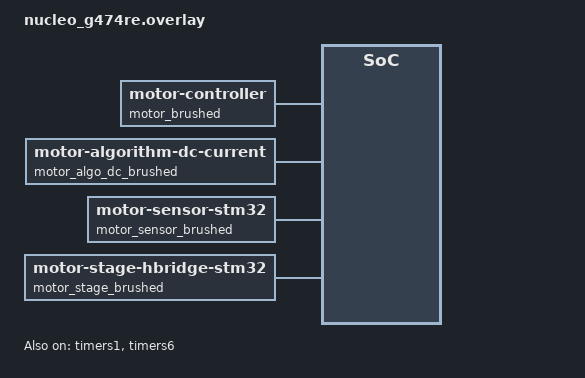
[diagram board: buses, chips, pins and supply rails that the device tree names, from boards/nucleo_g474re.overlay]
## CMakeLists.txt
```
# Copyright (c) 2026 Freedom Veiculos Eletricos
# SPDX-License-Identifier: UNLICENSED

cmake_minimum_required(VERSION 3.20.0)
find_package(Zephyr REQUIRED HINTS $ENV{ZEPHYR_BASE})
project(motor_trapezoid)

target_sources(app PRIVATE src/main.c)
```

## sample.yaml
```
# Copyright (c) 2026 Zephyr Motor Control Contributors
# SPDX-License-Identifier: Apache-2.0
#
# From repo root with ZEPHYR_EXTRA_MODULES: west twister -T samples/motor_trapezoid

sample:
  description: Motor control trapezoidal current trajectory (STM32 LL, NUCLEO-G474RE)
  name: motor_trapezoid
common:
  tags: motor
tests:
  samples.motor.motor_trapezoid:
    build_only: true
    extra_args: CONF_FILE=prj.conf
    integration_platforms:
      - nucleo_g474re
      - nucleo_h753zi
```

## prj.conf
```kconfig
# Copyright (c) 2026 Freedom Veiculos Eletricos
# SPDX-License-Identifier: UNLICENSED
#
# Trapezoidal current trajectory sample. Build (NUCLEO-G474RE + STM32 LL path):
#   west build -b nucleo_g474re samples/motor_trapezoid -- \
#     -DZEPHYR_EXTRA_MODULES=path/to/zephyr-motion-control
#
# boards/nucleo_g474re.overlay is auto-applied for that board.

CONFIG_PRINTK=y
CONFIG_LOG=y
CONFIG_GPIO=y
CONFIG_COUNTER=y
CONFIG_PINCTRL=y
CONFIG_UART_CONSOLE=y
CONFIG_CONSOLE=y

CONFIG_SHELL=y
CONFIG_SHELL_STACK_SIZE=4096

CONFIG_MOTOR_STAGE_HBRIDGE_STM32=y
CONFIG_MOTOR_SENSOR_STM32=y

CONFIG_MOTOR_CONTROL_LIB=y
CONFIG_MOTOR_SUBSYS=y
```

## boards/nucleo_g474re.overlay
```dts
/*
 * Copyright (c) 2026 Zephyr Motor Control Contributors
 * SPDX-License-Identifier: Apache-2.0
 *
 * NUCLEO-G474RE: full-bridge DC on TIM1 complementary (CH1/CH1N + CH2/CH2N).
 * TIM1 TRGO -> ADC1 injected.
 */

/ {
	motor_brushed: motor-controller {
		compatible = "zephyr,motor-controller";
		status = "okay";

		sensor = <&motor_sensor_brushed>;
		actuator = <&motor_stage_brushed>;
		algorithm = <&motor_algo_dc_brushed>;
	};

	motor_algo_dc_brushed: motor-algorithm-dc-brushed {
		compatible = "zephyr,motor-algorithm-dc-current";
		status = "okay";

		dc-current-kp-milli = <500>;
		dc-current-ki-milli = <2000000>;
		dc-current-out-min-milli = <(-1000)>;
		dc-current-out-max-milli = <1000>;
		i-max-ma = <1000>;
	};

	motor_sensor_brushed: motor-sensor-brushed {
		compatible = "zephyr,motor-sensor-stm32";
		status = "okay";

		adc = <&adc1>;
		adc-channels = <1>;
		sync-actuator = <&motor_stage_brushed>;
		zephyr,adc-irq-priority = <2>;
	};

	motor_stage_brushed: motor-stage-brushed {
		compatible = "zephyr,motor-stage-hbridge-stm32";
		status = "okay";

		st,pwm-timer = <&timers1>;
		slow-timer = <&motor_slow_counter>;
		slow-sample-div = <10>;
		pwm-channels = <1 2>;
		pwm-frequency = <20000>;
		deadtime-ns = <500>;
		trgo-source = "update";

		pinctrl-0 = <&tim1_ch1_pa8 &tim1_ch1n_pa7
			     &tim1_ch2_pa9 &tim1_ch2n_pb0>;
		pinctrl-names = "complementary";
	};
};

&timers1 {
	status = "okay";
	st,prescaler = <0>;
};

&timers6 {
	status = "okay";
	/* TIM6 counts 16 bits: the 500 us outer tick only fits once the timer
	 * clock is divided down.
	 */
	st,prescaler = <3>;

	motor_slow_counter: counter {
		status = "okay";
	};
};
```

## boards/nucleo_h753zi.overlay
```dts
/*
 * Copyright (c) 2026 Zephyr Motor Control Contributors
 * SPDX-License-Identifier: Apache-2.0
 *
 * NUCLEO-H753ZI: full-bridge DC on TIM1 complementary (CH1/CH1N + CH2/CH2N).
 * TIM1 TRGO -> ADC3 injected.
 */

/ {
	motor_brushed: motor-controller {
		compatible = "zephyr,motor-controller";
		status = "okay";

		sensor = <&motor_sensor_brushed>;
		actuator = <&motor_stage_brushed>;
		algorithm = <&motor_algo_dc_brushed>;
	};

	motor_algo_dc_brushed: motor-algorithm-dc-brushed {
		compatible = "zephyr,motor-algorithm-dc-current";
		status = "okay";

		dc-current-kp-milli = <500>;
		dc-current-ki-milli = <2000000>;
		dc-current-out-min-milli = <(-1000)>;
		dc-current-out-max-milli = <1000>;
		i-max-ma = <1000>;
	};

	motor_sensor_brushed: motor-sensor-brushed {
		compatible = "zephyr,motor-sensor-stm32";
		status = "okay";

		adc = <&adc3>;
		adc-channels = <1>;
		sync-actuator = <&motor_stage_brushed>;
		zephyr,adc-irq-priority = <2>;
	};

	motor_stage_brushed: motor-stage-brushed {
		compatible = "zephyr,motor-stage-hbridge-stm32";
		status = "okay";

		st,pwm-timer = <&timers1>;
		slow-timer = <&motor_slow_counter>;
		slow-sample-div = <10>;
		pwm-channels = <1 2>;
		pwm-frequency = <20000>;
		deadtime-ns = <500>;
		trgo-source = "update";

		pinctrl-0 = <&tim1_ch1_pa8 &tim1_ch1n_pa7
			     &tim1_ch2_pa9 &tim1_ch2n_pb0>;
		pinctrl-names = "complementary";
	};
};

&adc3 {
	status = "okay";
	pinctrl-0 = <&adc3_inp1_pc3_c>;
	pinctrl-names = "default";
};

&timers1 {
	status = "okay";
	st,prescaler = <0>;
};

&timers6 {
	status = "okay";
	/* TIM6 counts 16 bits: the 500 us outer tick only fits once the timer
	 * clock is divided down.
	 */
	st,prescaler = <3>;

	motor_slow_counter: counter {
		status = "okay";
	};
};
```

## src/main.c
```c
/*
 * Copyright (c) 2026 Freedom Veiculos Eletricos
 * SPDX-License-Identifier: UNLICENSED
 *
 * Shell-controlled trapezoidal current trajectory for the dc-current algorithm.
 */

#include <errno.h>
#include <stdbool.h>
#include <stdint.h>
#include <string.h>

#include <zephyr/devicetree.h>
#include <zephyr/kernel.h>
#include <zephyr/logging/log.h>
#include <zephyr/shell/shell.h>
#include <zephyr/sys/atomic.h>

#include <zephyr/subsys/motor/algorithms/dc_current/motor_algo_dc_current.h>
#include <zephyr/subsys/motor/motor.h>
#include <zephyr/subsys/motor/motor_subsys.h>

LOG_MODULE_REGISTER(motor_trapezoid, LOG_LEVEL_INF);

BUILD_ASSERT(DT_NODE_EXISTS(DT_NODELABEL(motor_brushed)),
	     "Add motor_brushed zephyr,motor-controller in board overlay");

#define TRAJ_TICK_MS      10U
#define TRAJ_RAMP_STEPS   (5000U / TRAJ_TICK_MS)
#define TRAJ_HOLD_STEPS   (5000U / TRAJ_TICK_MS)
#define TRAJ_ZERO_STEPS   (1000U / TRAJ_TICK_MS)
#define TRAJ_STACK_SIZE   2048
#define TRAJ_THREAD_PRIO  5

static K_THREAD_STACK_DEFINE(traj_stack, TRAJ_STACK_SIZE);
static struct k_thread traj_thread;
static atomic_t traj_run_requested;
static atomic_t traj_thread_active;
static motor_t traj_motor;
static float traj_peak_a;

static bool traj_should_run(void)
{
	return atomic_get(&traj_run_requested) != 0;
}

static int traj_set_current(motor_t motor, float i_a)
{
	int err = motor_algo_dc_current_set_current(motor, i_a);

	if (err != 0) {
		LOG_ERR("motor_algo_dc_current_set_current failed: %d", err);
	}

	return err;
}

static int traj_hold(motor_t motor, float i_a, uint32_t steps)
{
	for (uint32_t step = 0U; step < steps; step++) {
		if (!traj_should_run()) {
			return -ECANCELED;
		}
		if (traj_set_current(motor, i_a) != 0) {
			return -EIO;
		}
		k_sleep(K_MSEC(TRAJ_TICK_MS));
	}

	return 0;
}

static int traj_ramp(motor_t motor, float from_a, float to_a, uint32_t steps)
{
	for (uint32_t step = 1U; step <= steps; step++) {
		float ratio;
		float i_a;

		if (!traj_should_run()) {
			return -ECANCELED;
		}

		ratio = (float)step / (float)steps;
		i_a = from_a + ((to_a - from_a) * ratio);
		if (traj_set_current(motor, i_a) != 0) {
			return -EIO;
		}
		k_sleep(K_MSEC(TRAJ_TICK_MS));
	}

	return 0;
}

static int traj_cycle(motor_t motor, float peak_a)
{
	int err;

	err = traj_ramp(motor, 0.0f, peak_a, TRAJ_RAMP_STEPS);
	if (err != 0) {
		return err;
	}
	err = traj_hold(motor, peak_a, TRAJ_HOLD_STEPS);
	if (err != 0) {
		return err;
	}
	err = traj_ramp(motor, peak_a, 0.0f, TRAJ_RAMP_STEPS);
	if (err != 0) {
		return err;
	}
	err = traj_hold(motor, 0.0f, TRAJ_ZERO_STEPS);
	if (err != 0) {
		return err;
	}
	err = traj_ramp(motor, 0.0f, -peak_a, TRAJ_RAMP_STEPS);
	if (err != 0) {
		return err;
	}
	err = traj_hold(motor, -peak_a, TRAJ_HOLD_STEPS);
	if (err != 0) {
		return err;
	}
	err = traj_ramp(motor, -peak_a, 0.0f, TRAJ_RAMP_STEPS);
	if (err != 0) {
		return err;
	}

	return traj_hold(motor, 0.0f, TRAJ_ZERO_STEPS);
}

static void traj_thread_fn(void *p1, void *p2, void *p3)
{
	motor_t motor = p1;
	struct motor_dc_current_limits limits;
	int err;

	ARG_UNUSED(p2);
	ARG_UNUSED(p3);

	err = motor_algo_dc_current_get_limits(motor, &limits);
	if (err != 0) {
		LOG_ERR("motor_algo_dc_current_get_limits failed: %d", err);
		goto out;
	}

	traj_peak_a = limits.i_max_a;
	err = motor_enable(motor);
	if (err != 0) {
		LOG_ERR("motor_enable failed: %d", err);
		goto out;
	}

	while (traj_should_run()) {
		err = traj_cycle(motor, traj_peak_a);
		if ((err != 0) && (err != -ECANCELED)) {
			LOG_ERR("trajectory failed: %d", err);
			break;
		}
	}

	(void)motor_algo_dc_current_set_current(motor, 0.0f);
	(void)motor_disable(motor);

out:
	atomic_clear(&traj_run_requested);
	atomic_clear(&traj_thread_active);
}

static int cmd_trapezoid_start(const struct shell *sh)
{
	motor_t motor;

	if (atomic_get(&traj_thread_active) != 0) {
		shell_print(sh, "trajectory already running");
		return 0;
	}

	motor = motor_subsys_get_by_label("motor_brushed");
	if (motor == NULL) {
		shell_error(sh, "motor_brushed not found");
		return -ENODEV;
	}

	traj_motor = motor;
	atomic_set(&traj_run_requested, 1);
	atomic_set(&traj_thread_active, 1);
	k_thread_create(&traj_thread, traj_stack, K_THREAD_STACK_SIZEOF(traj_stack), traj_thread_fn,
			motor, NULL, NULL, TRAJ_THREAD_PRIO, 0, K_NO_WAIT);

	shell_print(sh, "trajectory started");
	return 0;
}

static int cmd_trapezoid_stop(const struct shell *sh)
{
	if (atomic_get(&traj_thread_active) == 0) {
		shell_print(sh, "trajectory already stopped");
		return 0;
	}

	atomic_clear(&traj_run_requested);
	shell_print(sh, "trajectory stopping");
	return 0;
}

static int cmd_trapezoid_status(const struct shell *sh)
{
	struct motor_dc_current_state state;
	enum motor_state motor_state;
	uint32_t faults;
	int err;

	shell_print(sh, "requested=%d active=%d peak=%f A", (int)atomic_get(&traj_run_requested),
		    (int)atomic_get(&traj_thread_active), (double)traj_peak_a);

	if (traj_motor == NULL) {
		return 0;
	}

	motor_get_status(traj_motor, &motor_state, &faults);
	shell_print(sh, "motor_state=%d faults=0x%08x", (int)motor_state, faults);

	err = motor_algo_dc_current_get_state(traj_motor, &state);
	if (err == 0) {
		shell_print(sh, "i_ref=%f i_meas=%f err=%f duty=%f", (double)state.i_ref_a,
			    (double)state.i_meas_a, (double)state.error_a, (double)state.duty);
	}

	return err;
}

static int cmd_trapezoid(const struct shell *sh, size_t argc, char **argv)
{
	if (argc < 2) {
		shell_error(sh, "sub: start|stop|status");
		return -EINVAL;
	}

	if (strcmp(argv[1], "start") == 0) {
		return cmd_trapezoid_start(sh);
	}
	if (strcmp(argv[1], "stop") == 0) {
		return cmd_trapezoid_stop(sh);
	}
	if (strcmp(argv[1], "status") == 0) {
		return cmd_trapezoid_status(sh);
	}

	shell_error(sh, "unknown: %s", argv[1]);
	return -EINVAL;
}

SHELL_CMD_ARG_REGISTER(trapezoid, NULL, "Trapezoidal current trajectory: start|stop|status",
		       cmd_trapezoid, 2, 0);

int main(void)
{
	LOG_INF("Use `trapezoid start` to run the current trajectory");
	return 0;
}
```
